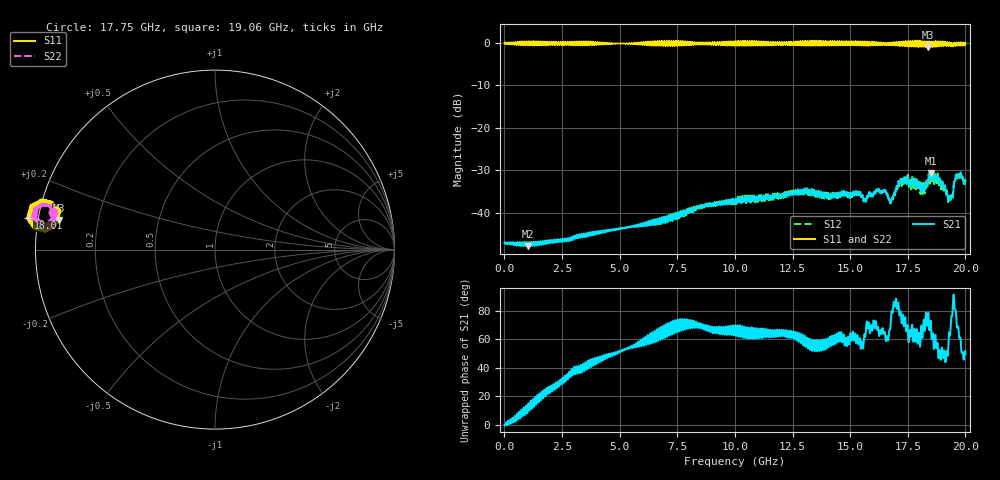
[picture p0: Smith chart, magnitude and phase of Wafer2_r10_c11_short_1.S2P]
!  2-Port S-parameters saved by WinCal
! VAR NAME=Wafer2_r10_c11_shortall
! VAR DATE=26/04/2024 16:52:53
! VAR FILENAME=Wafer2_r10_c11_shortall_1.S2P
! VAR MeasName=S-Parameters (CALIBRATED_DATA) read from VNA (P5004A)
! VAR MeasDate=26/04/2024 16:30:26
! VAR PHYS_PORTS=1,2
! VAR ObjTypeName=DATASET
! VAR IndexType=Frequency
# Hz S MA R 50
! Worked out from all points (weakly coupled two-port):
!   1999 points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, 10.01 MHz to 20 GHz, reference 50 ohm
!   highest |S21| = -30.64 dB at 18.52 GHz (marker M1); lowest = -47.9 dB at 1.011 GHz (marker M2)
!   lowest |S11| = -1.0 dB at 18.37 GHz (marker M3), VSWR 16.62, Z = 3.03 + j4.61 ohm
!   |S11| at or under -10 dB: nowhere
!   |S22| runs from -0.9 to 0.4 dB; largest |S21 - S12| = 0.0033
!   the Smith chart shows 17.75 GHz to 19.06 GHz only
!   S11 on the Smith chart (normalised r, x): 17.75 GHz: 0.05, +0.12; 18.01 GHz: -0.03, +0.08; 19.06 GHz: 0.05, +0.11
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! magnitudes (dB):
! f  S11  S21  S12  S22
! 10.01 MHz  0.0  -47.0  -47.1  0.0
! 1.011 GHz  -0.6  -47.9  -47.8  -0.6
! 3.342 GHz  0.3  -45.0  -45.1  0.3
! 6.673 GHz  -0.6  -42.5  -42.8  -0.6
! 10.01 GHz  -0.6  -37.7  -37.4  -0.5
! 13.35 GHz  0.4  -34.7  -34.7  0.4
! 15.37 GHz  -0.4  -35.6  -35.8  -0.4
! 15.64 GHz  0.2  -36.7  -36.8  0.2
! 16.21 GHz  -0.3  -34.7  -34.7  -0.4
! 16.52 GHz  -0.1  -34.7  -35.0  -0.1
! 16.68 GHz  -0.6  -37.0  -36.5  -0.6
! 16.81 GHz  0.0  -36.7  -36.7  -0.1
! 17.17 GHz  -0.8  -33.2  -32.9  -0.7
! 17.75 GHz  -0.8  -33.4  -34.2  -0.7
! 18.01 GHz  0.5  -32.9  -32.5  0.3
! 18.2 GHz  0.1  -33.8  -33.0  -0.1
! 18.37 GHz  -1.0  -33.2  -33.1  -0.9
! 18.52 GHz  0.4  -30.6  -30.7  0.3
! 19.06 GHz  -0.8  -34.2  -34.7  -0.7
! 19.32 GHz  0.0  -36.2  -36.4  -0.1
! 19.65 GHz  -0.7  -31.5  -32.0  -0.6
! 20 GHz  -0.1  -32.5  -32.3  -0.1
